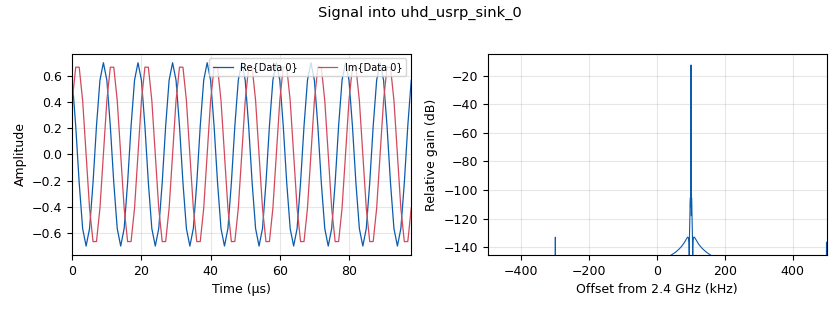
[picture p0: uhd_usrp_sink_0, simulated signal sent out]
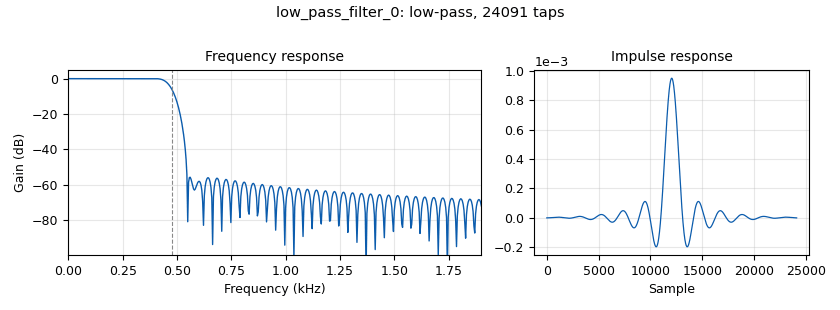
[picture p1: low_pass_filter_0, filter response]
<?xml version='1.0' encoding='utf-8'?>
<?grc format='1' created='3.7.7'?>
<flow_graph>
<block>
<key>options</key>
<param><key>id</key><value>top_block</value></param>
<param><key>generate_options</key><value>wx_gui</value></param>
<param><key>category</key><value>Custom</value></param>
</block>
<block>
<key>variable</key>
<param><key>id</key><value>decim_factor</value></param>
<param><key>value</key><value>samp_rate / out_rate</value></param>
</block>
<block>
<key>variable</key>
<param><key>id</key><value>tone_freq</value></param>
<param><key>value</key><value>100e3</value></param>
</block>
<block>
<key>variable</key>
<param><key>id</key><value>freq</value></param>
<param><key>value</key><value>2.4e9</value></param>
</block>
<block>
<key>variable</key>
<param><key>id</key><value>samp_rate</value></param>
<param><key>value</key><value>1e6</value></param>
</block>
<block>
<key>variable</key>
<param><key>id</key><value>out_rate</value></param>
<param><key>value</key><value>1e3</value></param>
</block>
<block>
<key>variable_slider</key>
<param><key>id</key><value>rx_gain</value></param>
<param><key>label</key><value></value></param>
<param><key>value</key><value>10+5</value></param>
<param><key>min</key><value>0</value></param>
<param><key>max</key><value>100</value></param>
<param><key>num_steps</key><value>100</value></param>
<param><key>style</key><value>wx.SL_HORIZONTAL</value></param>
<param><key>converver</key><value>float_converter</value></param>
</block>
<block>
<key>variable_slider</key>
<param><key>id</key><value>tx_gain</value></param>
<param><key>label</key><value></value></param>
<param><key>value</key><value>10+10</value></param>
<param><key>min</key><value>0</value></param>
<param><key>max</key><value>100</value></param>
<param><key>num_steps</key><value>100</value></param>
<param><key>style</key><value>wx.SL_HORIZONTAL</value></param>
<param><key>converver</key><value>float_converter</value></param>
</block>
<block>
<key>variable_slider</key>
<param><key>id</key><value>amp</value></param>
<param><key>label</key><value></value></param>
<param><key>value</key><value>0.7</value></param>
<param><key>min</key><value>0</value></param>
<param><key>max</key><value>1</value></param>
<param><key>num_steps</key><value>100</value></param>
<param><key>style</key><value>wx.SL_HORIZONTAL</value></param>
<param><key>converver</key><value>float_converter</value></param>
</block>
<block>
<key>import</key>
<param><key>id</key><value>import_0</value></param>
<param><key>import</key><value>import baz</value></param>
</block>
<block>
<key>analog_sig_source_x</key>
<param><key>id</key><value>analog_sig_source_x_0_0</value></param>
<param><key>type</key><value>complex</value></param>
<param><key>samp_rate</key><value>samp_rate</value></param>
<param><key>waveform</key><value>analog.GR_COS_WAVE</value></param>
<param><key>freq</key><value>tone_freq</value></param>
<param><key>amp</key><value>amp</value></param>
<param><key>offset</key><value>0</value></param>
</block>
<block>
<key>uhd_usrp_source</key>
<param><key>id</key><value>uhd_usrp_source_0</value></param>
<param><key>type</key><value>fc32</value></param>
<param><key>dev_args</key><value>""</value></param>
<param><key>sync</key><value></value></param>
<param><key>clock_rate</key><value>0.0</value></param>
<param><key>samp_rate</key><value>samp_rate</value></param>
<param><key>center_freq0</key><value>freq</value></param>
<param><key>gain0</key><value>rx_gain</value></param>
<param><key>ant0</key><value></value></param>
</block>
<block>
<key>blocks_multiply_conjugate_cc</key>
<param><key>id</key><value>blocks_multiply_conjugate_cc_0</value></param>
</block>
<block>
<key>low_pass_filter</key>
<param><key>id</key><value>low_pass_filter_0</value></param>
<param><key>type</key><value>fir_filter_ccf</value></param>
<param><key>decim</key><value>int(decim_factor)</value></param>
<param><key>gain</key><value>1</value></param>
<param><key>samp_rate</key><value>samp_rate</value></param>
<param><key>cutoff_freq</key><value>out_rate / 2.1</value></param>
<param><key>width</key><value>100</value></param>
<param><key>win</key><value>firdes.WIN_HAMMING</value></param>
</block>
<block>
<key>wxgui_waterfallsink2</key>
<param><key>id</key><value>wxgui_waterfallsink2_0</value></param>
<param><key>type</key><value>complex</value></param>
<param><key>title</key><value>Waterfall Plot</value></param>
<param><key>samp_rate</key><value>out_rate</value></param>
<param><key>baseband_freq</key><value>0</value></param>
<param><key>dynamic_range</key><value>20</value></param>
<param><key>ref_level</key><value>-20</value></param>
<param><key>ref_scale</key><value>2.0</value></param>
<param><key>fft_size</key><value>64</value></param>
<param><key>fft_rate</key><value>100</value></param>
<param><key>average</key><value>False</value></param>
<param><key>avg_alpha</key><value>0</value></param>
<param><key>win</key><value>window.rectangular</value></param>
<param><key>freqvar</key><value>None</value></param>
</block>
<block>
<key>uhd_usrp_sink</key>
<param><key>id</key><value>uhd_usrp_sink_0</value></param>
<param><key>type</key><value>fc32</value></param>
<param><key>dev_args</key><value>""</value></param>
<param><key>sync</key><value></value></param>
<param><key>clock_rate</key><value>0.0</value></param>
<param><key>samp_rate</key><value>samp_rate</value></param>
<param><key>center_freq0</key><value>freq</value></param>
<param><key>gain0</key><value>tx_gain</value></param>
<param><key>ant0</key><value></value></param>
<param><key>len_tag_name</key><value></value></param>
</block>
<block>
<key>analog_sig_source_x</key>
<param><key>id</key><value>analog_sig_source_x_0</value></param>
<param><key>type</key><value>complex</value></param>
<param><key>samp_rate</key><value>samp_rate</value></param>
<param><key>waveform</key><value>analog.GR_COS_WAVE</value></param>
<param><key>freq</key><value>tone_freq</value></param>
<param><key>amp</key><value>amp</value></param>
<param><key>offset</key><value>0</value></param>
</block>
<connection><source_block_id>analog_sig_source_x_0</source_block_id><sink_block_id>uhd_usrp_sink_0</sink_block_id><source_key>0</source_key><sink_key>0</sink_key></connection>
<connection><source_block_id>uhd_usrp_source_0</source_block_id><sink_block_id>blocks_multiply_conjugate_cc_0</sink_block_id><source_key>0</source_key><sink_key>0</sink_key></connection>
<connection><source_block_id>analog_sig_source_x_0_0</source_block_id><sink_block_id>blocks_multiply_conjugate_cc_0</sink_block_id><source_key>0</source_key><sink_key>1</sink_key></connection>
<connection><source_block_id>blocks_multiply_conjugate_cc_0</source_block_id><sink_block_id>low_pass_filter_0</sink_block_id><source_key>0</source_key><sink_key>0</sink_key></connection>
<connection><source_block_id>low_pass_filter_0</source_block_id><sink_block_id>wxgui_waterfallsink2_0</sink_block_id><source_key>0</source_key><sink_key>0</sink_key></connection>
</flow_graph>
